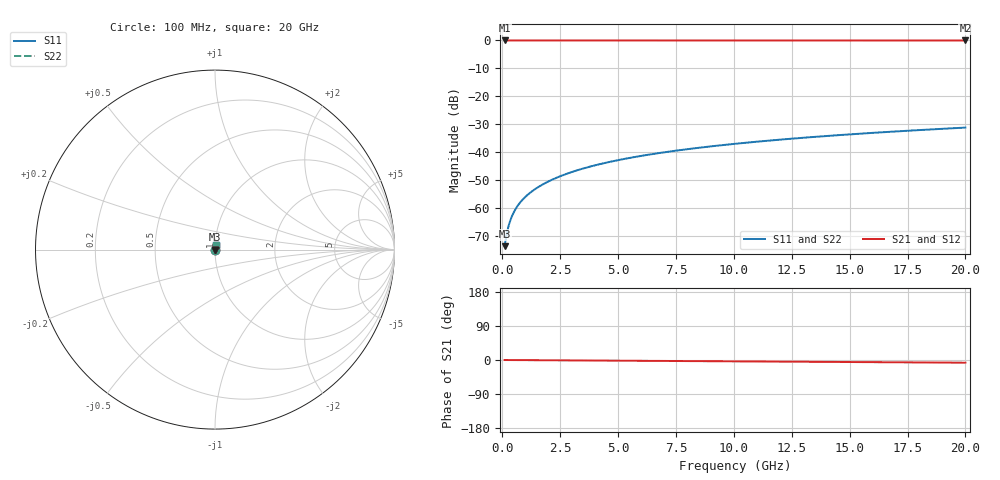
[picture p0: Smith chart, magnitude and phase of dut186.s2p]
! Touchstone file exported from HFSS 2026.1.0
!  File:  C:/ffzhzh/LocalFiles/Ansys_Project_Files/temp_train_TSV_186_1782991427_40604.aedt
!  Generated:  07:25:12 PM Jul  2, 2026
!  Design:  TSV
!  Project:  temp_train_TSV_186_1782991427_40604
! Variables:
!  h_bsmrdl = 2um
!  h_ox = 20um
!  h_rdl = 5um
!  h_sub = 65.42um
!  h_tmrdl = 5um
!  h_tsv = 65.42um
!  h_via = 3um
!  l_bsmrdl = 300um
!  l_sub = 418.82um
!  l_tmrdl = 200um
!  m_sub = 200um
!  pitch = 49.14um
!  r_tsv = 9.41um
!  s_tmrdl = 10um
!  w_bsmrdl = 18um
!  w_sub = 500um
!  w_tmrdl = 12um
!  x_tsv_center1 = 206um
!  x_tsv_center2 = 524um
!  x_tsv_center3 = 736um
!  x_tsv_center4 = 1054um
!  x_tsv_center5 = 1266um
!  x_tsv_center6 = 1584um
# GHz S MA R 50.000000
! Terminal data exported
! Port[1] = TSV1_1_T1
! Port[2] = TSV1_1_T2
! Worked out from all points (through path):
!   200 points, 100 MHz to 20 GHz, reference 50 ohm
!   highest |S21| = 0.00 dB at 100 MHz (marker M1); lowest = 0.0 dB at 20 GHz (marker M2)
!   lowest |S11| = -73.5 dB at 100 MHz (marker M3), VSWR 1.00, Z = 50 + j0.0174 ohm
!   |S11| at or under -10 dB: start of sweep to end of sweep
!   |S22| runs from -73.5 to -31.1 dB; largest |S21 - S12| = 5e-15
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0.1  0.0002108 55.7  0.9999 -0.0  0.9999 -0.0  0.0002108 55.7
! Gamma 0 0 0 0
! Port Impedance 50 0 50 0
0.2  0.0003694 69.7  0.9999 -0.1  0.9999 -0.1  0.0003694 69.7
0.3  0.0005344 74.5  0.9999 -0.1  0.9999 -0.1  0.0005344 74.5
0.4  0.0006977 76.6  0.9998 -0.1  0.9998 -0.1  0.0006977 76.6
0.5  0.0008575 77.8  0.9998 -0.2  0.9998 -0.2  0.0008575 77.8
0.6  0.001013 78.5  0.9998 -0.2  0.9998 -0.2  0.001013 78.5
0.7  0.001166 79.1  0.9998 -0.3  0.9998 -0.3  0.001166 79.1
0.8  0.001316 79.5  0.9998 -0.3  0.9998 -0.3  0.001316 79.5
1  0.001609 80.2  0.9997 -0.4  0.9997 -0.4  0.001609 80.2
1.4  0.002183 81.3  0.9997 -0.5  0.9997 -0.5  0.002183 81.3
1.7  0.00261 81.9  0.9997 -0.6  0.9997 -0.6  0.00261 81.9
2  0.003036 82.4  0.9996 -0.7  0.9996 -0.7  0.003036 82.4
2.7  0.004029 83.2  0.9996 -1.0  0.9996 -1.0  0.004029 83.2
3.5  0.00516 83.6  0.9995 -1.3  0.9995 -1.3  0.00516 83.6
4.2  0.006145 83.8  0.9995 -1.5  0.9995 -1.5  0.006145 83.8
5  0.007265 83.8  0.9994 -1.8  0.9994 -1.8  0.007265 83.8
6.8  0.009763 83.7  0.9993 -2.4  0.9993 -2.4  0.009763 83.7
8.3  0.01183 83.5  0.9992 -3.0  0.9992 -3.0  0.01183 83.5
10.1  0.0143 83.2  0.9991 -3.6  0.9991 -3.6  0.0143 83.2
13.4  0.0188 82.4  0.9989 -4.8  0.9989 -4.8  0.0188 82.4
16.7  0.02328 81.5  0.9987 -6.0  0.9987 -6.0  0.02328 81.5
20  0.02771 80.6  0.9985 -7.1  0.9985 -7.1  0.02771 80.6
